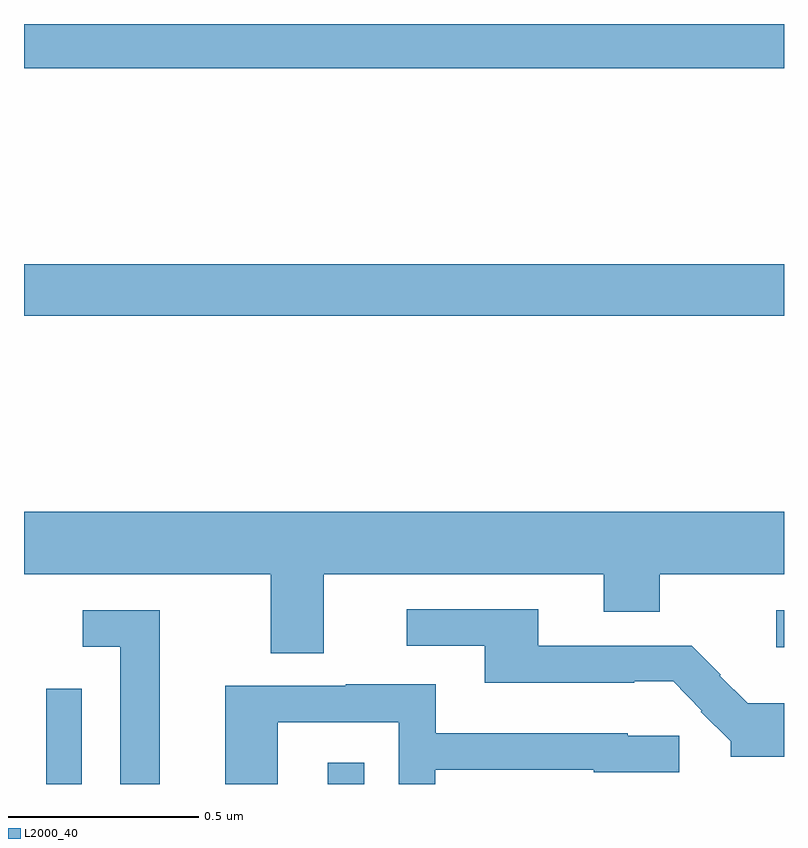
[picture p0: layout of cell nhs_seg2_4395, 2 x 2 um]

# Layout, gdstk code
import gdstk
lib = gdstk.Library(unit=1e-6, precision=1e-09)
def R(c, l, rs):  # rectangles x0, y0, x1, y1
    for r in rs: c.add(gdstk.rectangle(r[:2], r[2:], *l))
def P(c, l, *ps):  # polygons
    for p in ps: c.add(gdstk.Polygon(p, *l))
L2000_40 = (2000, 40)

nhs_seg2_4395 = lib.new_cell('nhs_seg2_4395')
R(nhs_seg2_4395, L2000_40, [(166.058,597.8,166.152,598.051), (166.799,597.8,166.896,597.856), (167.979,598.16,168,598.257), (166,599.032,168,599.168), (166,599.684,168,599.8)])
P(nhs_seg2_4395, L2000_40, [(166.789,598.352),(167.525,598.352),(167.525,598.253),(167.673,598.253),(167.673,598.352),(168,598.352),(168,598.516),(166,598.516),(166,598.352),(166.649,598.352),(166.649,598.144),(166.789,598.144)],
  [(168,598.012),(167.905,598.012),(167.831,598.085),(167.833,598.087),(167.757,598.164),(167.353,598.164),(167.353,598.26),(167.007,598.26),(167.007,598.164),(167.213,598.164),(167.213,598.067),(167.606,598.067),(167.606,598.07),(167.708,598.07),(167.784,597.993),(167.781,597.99),(167.86,597.912),(167.86,597.872),(168,597.872)],
  [(166.357,598.257),(166.155,598.257),(166.155,598.161),(166.253,598.161),(166.253,597.8),(166.357,597.8)],
  [(166.668,597.963),(166.986,597.963),(166.986,597.8),(167.082,597.8),(167.082,597.837),(167.499,597.837),(167.499,597.831),(167.724,597.831),(167.724,597.927),(167.589,597.927),(167.589,597.934),(167.083,597.934),(167.083,598.063),(166.847,598.063),(166.847,598.059),(166.529,598.059),(166.529,597.8),(166.668,597.8)])

lib.write_gds('nhs_seg2_4395.gds')
